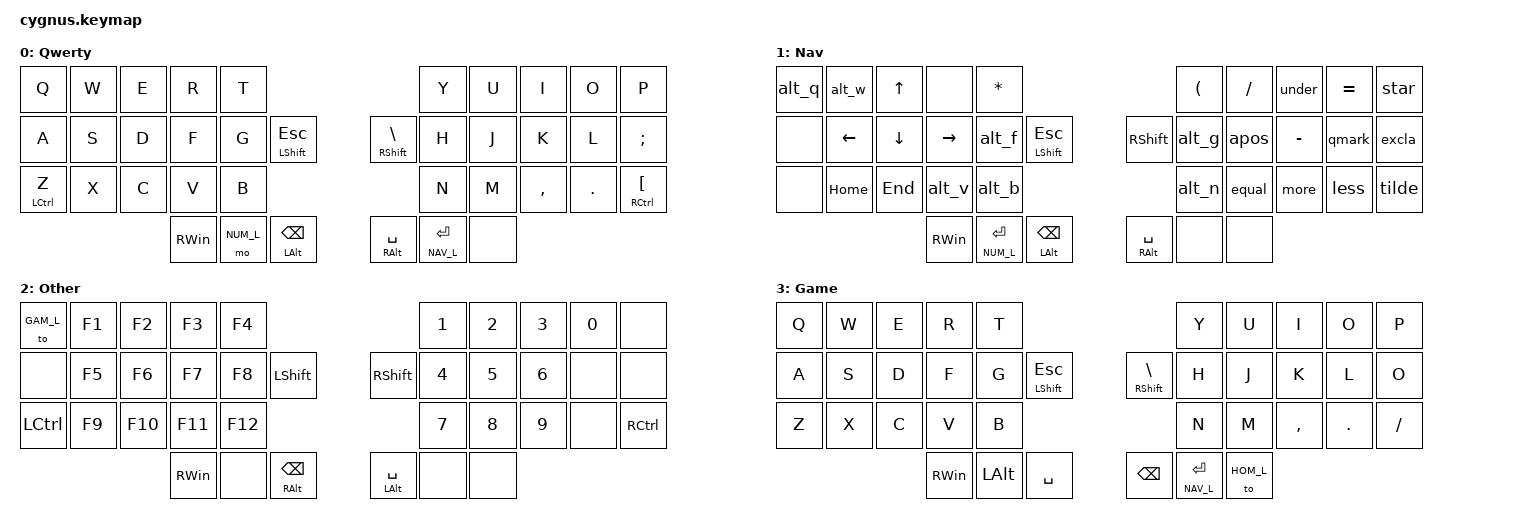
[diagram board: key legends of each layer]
/*
*
* Copyright (c) 2024 Rafael Romão
* SPDX-License-Identifier: MIT
*
*/

#include <behaviors.dtsi>
#include <dt-bindings/zmk/keys.h>
#include <dt-bindings/zmk/bt.h>
#include <dt-bindings/zmk/pointing.h>

#define HOM_L 0  
#define NAV_L 1
#define NUM_L 2
#define GAM_L 3
#define MOS_L 4
/ {

    combos {
        compatible = "zmk,combos";
        combo_bksp {
            timeout-ms = <50>;
            require-prior-idle-ms = <200>;
            key-positions = <24 25>;
            bindings = <&kp DEL>;
        };
        combo_tab {
            timeout-ms = <50>;
            require-prior-idle-ms = <200>;
            key-positions = <1 2>;
            bindings = <&kp TAB>;
        };
        combo_caps {
            timeout-ms = <50>;
            require-prior-idle-ms = <200>;
            key-positions = <11 12>;
            bindings = <&kp LCAPS>;
        };
    };  

    macros {
        alt_f: alt_f {
            compatible = "zmk,behavior-macro";
            #binding-cells = <0>;
            bindings
                = <&macro_press &kp RALT>
                , <&macro_tap &kp F>
                , <&macro_release &kp RALT>
                ;
        };
        alt_g: alt_g {
            compatible = "zmk,behavior-macro";
            #binding-cells = <0>;
            bindings
                = <&macro_press &kp RALT>
                , <&macro_tap &kp G>
                , <&macro_release &kp RALT>
                ;
        };
        alt_q: alt_q {
            compatible = "zmk,behavior-macro";
            #binding-cells = <0>;
            bindings
                = <&macro_press &kp RALT>
                , <&macro_tap &kp Q>
                , <&macro_release &kp RALT>
                ;
        };
        alt_w: alt_w {
            compatible = "zmk,behavior-macro";
            #binding-cells = <0>;
            bindings
                = <&macro_press &kp RALT>
                , <&macro_tap &kp W>
                , <&macro_release &kp RALT>
                ;
        };
        alt_v: alt_v {
            compatible = "zmk,behavior-macro";
            #binding-cells = <0>;
            bindings
                = <&macro_press &kp RALT>
                , <&macro_tap &kp V>
                , <&macro_release &kp RALT>
                ;
        };
        alt_b: alt_b {
            compatible = "zmk,behavior-macro";
            #binding-cells = <0>;
            bindings
                = <&macro_press &kp RALT>
                , <&macro_tap &kp B>
                , <&macro_release &kp RALT>
                ;
        };
        alt_n: alt_n {
            compatible = "zmk,behavior-macro";
            #binding-cells = <0>;
            bindings
                = <&macro_press &kp RALT>
                , <&macro_tap &kp N>
                , <&macro_release &kp RALT>
                ;
        };
        under: under {
            compatible = "zmk,behavior-macro";
            #binding-cells = <0>;
            bindings
                = <&macro_press &kp LSHIFT>
                , <&macro_tap &kp FSLH>
                , <&macro_release &kp LSHIFT>
                ;
        };
        star: star {
            compatible = "zmk,behavior-macro";
            #binding-cells = <0>;
            bindings
                = <&macro_press &kp LSHIFT>
                , <&macro_tap &kp EQUAL>
                , <&macro_release &kp LSHIFT>
                ;
        };
        tilde: tilde {
            compatible = "zmk,behavior-macro";
            #binding-cells = <0>;
            bindings
                = <&macro_press &kp RALT>
                , <&macro_tap &kp N1>
                , <&macro_release &kp RALT>
                ;
        };
        apos: apos {
            compatible = "zmk,behavior-macro";
            #binding-cells = <0>;
            bindings
                = <&macro_press &kp LSHIFT>
                , <&macro_tap &kp N2>
                , <&macro_release &kp LSHIFT>
                ;
        };
        qmark: qmark {
            compatible = "zmk,behavior-macro";
            #binding-cells = <0>;
            bindings
                = <&macro_press &kp LSHIFT>
                , <&macro_tap &kp MINUS>
                , <&macro_release &kp LSHIFT>
                ;
        };
        excla: excla {
            compatible = "zmk,behavior-macro";
            #binding-cells = <0>;
            bindings
                = <&macro_press &kp LSHIFT>
                , <&macro_tap &kp N1>
                , <&macro_release &kp LSHIFT>
                ;
        };
        equal: equal {
            compatible = "zmk,behavior-macro";
            #binding-cells = <0>;
            bindings
                = <&macro_press &kp LSHIFT>
                , <&macro_tap &kp N0>
                , <&macro_release &kp LSHIFT>
                ;
        };
        more: more {
            compatible = "zmk,behavior-macro";
            #binding-cells = <0>;
            bindings
                = <&macro_press &kp RALT>
                , <&macro_tap &kp COMMA>
                , <&macro_release &kp RALT>
                ;
        };
        less: less {
            compatible = "zmk,behavior-macro";
            #binding-cells = <0>;
            bindings
                = <&macro_press &kp RALT>
                , <&macro_tap &kp DOT>
                , <&macro_release &kp RALT>
                ;
        };
    };



    keymap {
        compatible = "zmk,keymap";

        qwerty_layer {
            label = "Qwerty";
             bindings = <
            // ╷           ╷      TOTEM     ╷      TOTEM     ╷     TOTEM      ╷      TOTEM     ╷     TOTEM     ╷   ╷      TOTEM     ╷   TOTEM        ╷      TOTEM     ╷           ╷           ╷           ╷
            
                                    &kp Q       &kp W       &kp E       &kp R       &kp T                                                                               &kp Y       &kp U       &kp I       &kp O             &kp P
                                    &kp A        &kp S       &kp D       &kp F       &kp G       &mt LSHIFT ESC         &mt RSHIFT BSLH               &kp H       &kp J       &kp K        &kp L             &kp SEMI
                                    &mt LCTRL Z       &kp X       &kp C       &kp V       &kp B                                                                            &kp N       &kp M       &kp COMMA   &kp DOT     &mt RCTRL LBKT                                  
                                                    &kp RWIN     &mo NUM_L    &mt LALT BSPC                                                                         &mt RALT SPACE      &lt NAV_L ENTER   &none
                                    >;
        };
        nav_layer {
           label = "Nav";
             bindings = <
            // ╷           ╷      TOTEM     ╷      TOTEM     ╷     TOTEM      ╷      TOTEM     ╷     TOTEM     ╷   ╷      TOTEM     ╷   TOTEM        ╷      TOTEM     ╷           ╷           ╷           ╷
            
                     &alt_q     &alt_w        &kp UP      &none            &kp STAR                          &kp LPAR     &kp FSLH   &under   &kp EQUAL   &star
                    &none     &kp LEFT    &kp DOWN     &kp RIGHT        &alt_f        &mt LSHIFT ESC    &kp RSHIFT           &alt_g     &apos   &kp MINUS    &qmark   &excla
                    &none     &kp HOME        &kp END        &alt_v           &alt_b                               &alt_n      &equal   &more   &less   &tilde        
                                           &kp RWIN       &lt NUM_L ENTER            &mt LALT BSPC                                    &mt RALT SPACE     &none   &none      
                                    >;
       };

       num_layer {
            label = "Other";
             bindings = <
            // ╷           ╷      TOTEM     ╷      TOTEM     ╷     TOTEM      ╷      TOTEM     ╷     TOTEM     ╷   ╷      TOTEM     ╷   TOTEM        ╷      TOTEM     ╷           ╷           ╷           ╷
            
                    &to GAM_L     &kp F1    &kp F2      &kp F3     &kp F4                                           &kp N1     &kp N2   &kp N3   &kp N0   &none
                    &none     &kp F5    &kp F6     &kp F7      &kp F8      &kp LSHIFT              &kp RSHIFT         &kp N4     &kp N5   &kp N6   &none   &none
                    &kp LCTRL     &kp F9    &kp F10    &kp F11     &kp F12                                             &kp N7    &kp N8   &kp N9   &none   &kp RCTRL        
                                        &kp RWIN     &none      &mt RALT BSPC                                          &mt LALT SPACE     &none   &none      
                                    >;
        };
        game_layer {
            label = "Game";
             bindings = <
            // ╷           ╷      TOTEM     ╷      TOTEM     ╷     TOTEM      ╷      TOTEM     ╷     TOTEM     ╷   ╷      TOTEM     ╷   TOTEM        ╷      TOTEM     ╷           ╷           ╷           ╷
            
                                    &kp Q       &kp W       &kp E       &kp R       &kp T                                               &kp Y       &kp U       &kp I       &kp O       &kp P
                                    &kp A        &kp S       &kp D       &kp F       &kp G       &mt LSHIFT ESC      &mt RSHIFT BSLH     &kp H       &kp J       &kp K        &kp L       &kp O
                                    &kp Z       &kp X       &kp C       &kp V       &kp B                                             &kp N       &kp M       &kp COMMA   &kp DOT     &kp FSLH                                  
                                                    &kp RWIN     &kp LALT    &kp SPACE                                                &kp BSPC      &lt NAV_L ENTER      &to HOM_L
                                    >;
        };
    };
};
